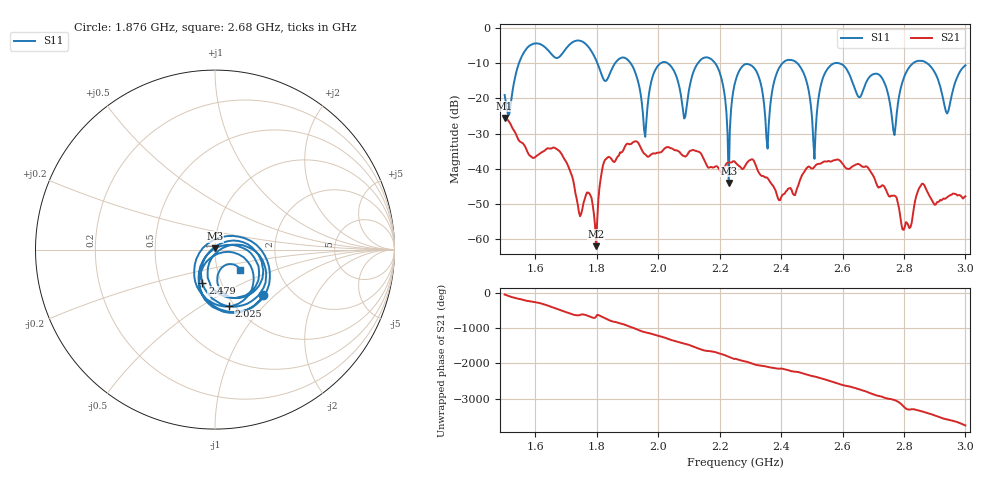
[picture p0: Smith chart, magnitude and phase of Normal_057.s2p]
# HZ S RI R 50
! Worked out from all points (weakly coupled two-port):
!   404 points, 1.5 GHz to 3 GHz, reference 50 ohm
!   highest |S21| = -25.59 dB at 1.5 GHz (marker M1); lowest = -62.0 dB at 1.798 GHz (marker M2)
!   lowest |S11| = -44.0 dB at 2.23 GHz (marker M3), VSWR 1.01, Z = 49.9 + j0.629 ohm
!   |S11| at or under -10 dB: 2.185 GHz to 2.405 GHz (219.4 MHz wide, 9.56 % of centre); 2.588 GHz to 2.83 GHz (242.1 MHz wide, 8.94 % of centre); 2.875 GHz to end of sweep (the widest 3 of 8)
!   S12 and S22 are empty: the file has one direction only
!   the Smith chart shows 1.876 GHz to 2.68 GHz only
!   S11 on the Smith chart (normalised r, x): 1.876 GHz: 1.44, -0.85; 2.025 GHz: 0.94, -0.67; 2.479 GHz: 0.81, -0.32; 2.68 GHz: 1.28, -0.30
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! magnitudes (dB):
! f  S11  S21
! 1.5 GHz  -19.0  -25.6
! 1.753 GHz  -3.9  -51.4
! 1.798 GHz  -9.1  -62.0
! 1.876 GHz  -8.6  -35.3
! 1.958 GHz  -30.9  -35.9
! 2.002 GHz  -10.4  -35.4
! 2.025 GHz  -9.7  -34.0
! 2.084 GHz  -25.7  -36.4
! 2.181 GHz  -9.6  -39.6
! 2.23 GHz  -44.0  -38.2
! 2.252 GHz  -15.0  -38.3
! 2.315 GHz  -11.7  -38.5
! 2.356 GHz  -34.3  -42.7
! 2.401 GHz  -10.4  -48.0
! 2.479 GHz  -14.0  -40.3
! 2.501 GHz  -26.0  -39.9
! 2.565 GHz  -10.4  -37.9
! 2.68 GHz  -15.0  -39.4
! 2.751 GHz  -19.7  -47.7
! 2.859 GHz  -9.3  -44.2
! 2.94 GHz  -24.3  -48.1
! 3 GHz  -10.6  -47.8
